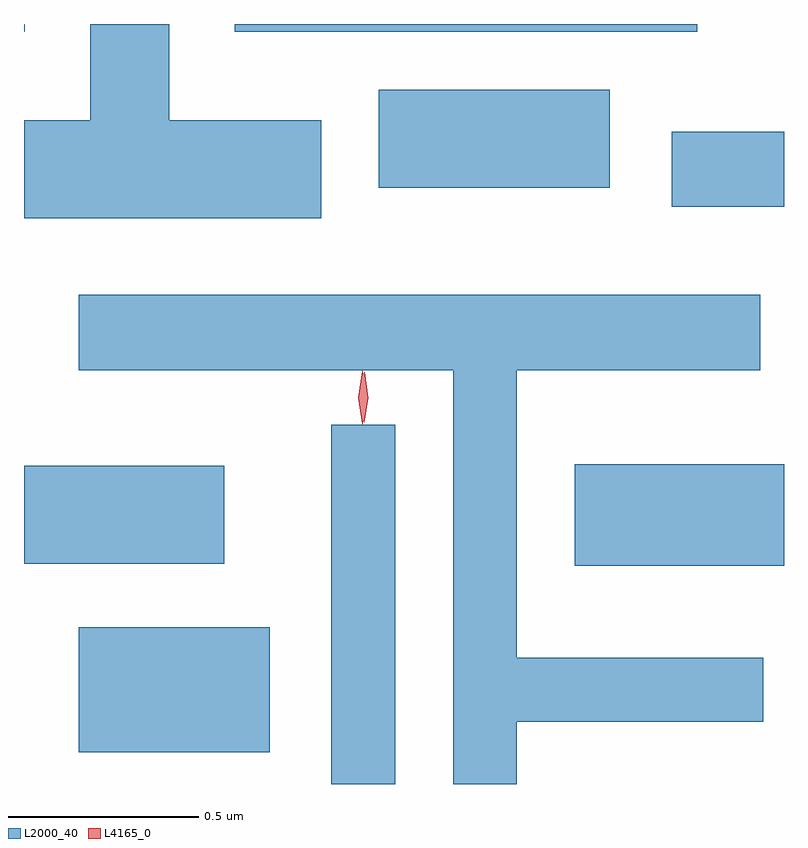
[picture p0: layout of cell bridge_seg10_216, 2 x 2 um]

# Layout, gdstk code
import gdstk
lib = gdstk.Library(unit=1e-6, precision=1e-09)
def R(c, l, rs):  # rectangles x0, y0, x1, y1
    for r in rs: c.add(gdstk.rectangle(r[:2], r[2:], *l))
def P(c, l, *ps):  # polygons
    for p in ps: c.add(gdstk.Polygon(p, *l))
L2000_40 = (2000, 40)
L4165_0 = (4165, 0)

bridge_seg10_216 = lib.new_cell('bridge_seg10_216')
R(bridge_seg10_216, L2000_40, [(1902.871,2141.227,1903.039,2142.173), (1902.206,2141.311,1902.709,2141.639), (1903.511,2141.801,1904.062,2142.069), (1902.062,2141.806,1902.589,2142.064), (1903.766,2142.746,1904.062,2142.944), (1902.996,2142.796,1903.604,2143.054), (1902.062,2143.206,1902.064,2143.227), (1902.616,2143.206,1903.834,2143.227)])
P(bridge_seg10_216, L2000_40, [(1902.844,2142.974),(1902.444,2142.974),(1902.444,2143.227),(1902.236,2143.227),(1902.236,2142.974),(1902.062,2142.974),(1902.062,2142.716),(1902.844,2142.716)],
  [(1903.359,2141.391),(1904.008,2141.391),(1904.008,2141.559),(1903.359,2141.559),(1903.359,2142.316),(1903.999,2142.316),(1903.999,2142.514),(1902.206,2142.514),(1902.206,2142.316),(1903.191,2142.316),(1903.191,2141.227),(1903.359,2141.227)])
P(bridge_seg10_216, L4165_0, [(1902.957,2142.178),(1902.948,2142.244),(1902.958,2142.31),(1902.958,2142.311),(1902.959,2142.31),(1902.968,2142.244),(1902.958,2142.178),(1902.958,2142.178)],
  [(1902.952,2142.174),(1902.952,2142.175),(1902.942,2142.244),(1902.952,2142.313),(1902.952,2142.314),(1902.953,2142.313),(1902.962,2142.244),(1902.953,2142.175)])

lib.write_gds('bridge_seg10_216.gds')
